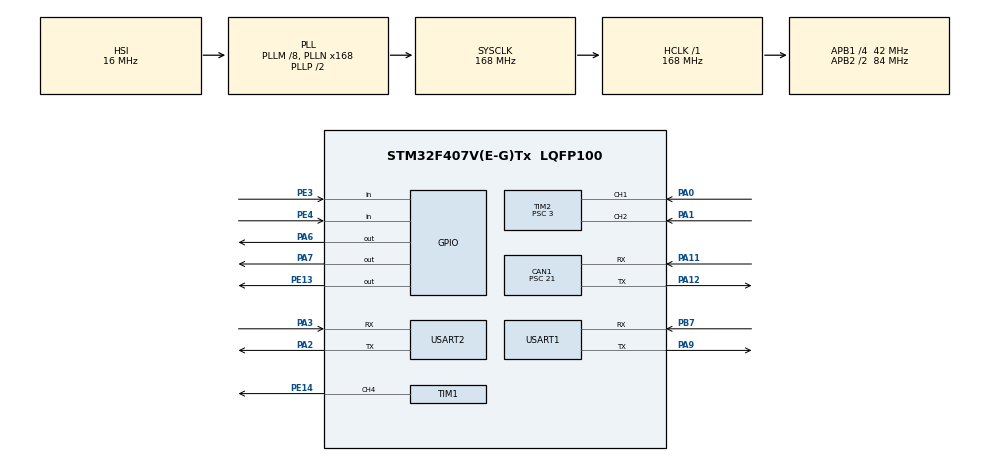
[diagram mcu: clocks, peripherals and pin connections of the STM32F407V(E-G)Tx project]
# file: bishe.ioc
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CAN1.BS1=CAN_BS1_16TQ
CAN1.BS2=CAN_BS2_3TQ
CAN1.CalculateTimeQuantum=500.0
CAN1.Mode=CAN_MODE_NORMAL
CAN1.Prescaler=21
Mcu.Family=STM32F4
Mcu.Name=STM32F407V(E-G)Tx
Mcu.Package=LQFP100
NVIC.CAN1_RX0_IRQn=true\:0\:0\:false\:false\:true\:true\:true
NVIC.CAN1_RX1_IRQn=true\:0\:0\:false\:false\:true\:true\:true
NVIC.CAN1_TX_IRQn=true\:1\:0\:true\:false\:true\:true\:true
NVIC.PriorityGroup=NVIC_PRIORITYGROUP_4
NVIC.TIM1_BRK_TIM9_IRQn=true\:2\:0\:true\:false\:true\:true\:true
NVIC.TIM1_CC_IRQn=true\:2\:0\:true\:false\:true\:true\:true
NVIC.TIM1_TRG_COM_TIM11_IRQn=true\:2\:0\:true\:false\:true\:true\:true
NVIC.TIM1_UP_TIM10_IRQn=true\:2\:0\:true\:false\:true\:true\:true
NVIC.TIM2_IRQn=true\:2\:0\:true\:false\:true\:true\:true
NVIC.TIM3_IRQn=true\:2\:0\:true\:false\:true\:true\:true
NVIC.TIM5_IRQn=true\:2\:0\:true\:false\:true\:true\:true
NVIC.TIM6_DAC_IRQn=true\:2\:0\:true\:false\:true\:true\:true
NVIC.USART1_IRQn=true\:1\:0\:true\:false\:true\:true\:true
NVIC.USART2_IRQn=true\:0\:0\:false\:false\:true\:true\:true
PA0-WKUP.Signal=S_TIM2_CH1_ETR
PA1.Signal=S_TIM2_CH2
PA11.Mode=Master
PA11.Signal=CAN1_RX
PA12.Mode=Master
PA12.Signal=CAN1_TX
PA13.Mode=Serial_Wire
PA13.Signal=SYS_JTMS-SWDIO
PA14.Mode=Serial_Wire
PA14.Signal=SYS_JTCK-SWCLK
PA2.Mode=Asynchronous
PA2.Signal=USART2_TX
PA3.Mode=Asynchronous
PA3.Signal=USART2_RX
PA6.Signal=GPIO_Output
PA7.PinState=GPIO_PIN_SET
PA7.Signal=GPIO_Output
PA9.Mode=Asynchronous
PA9.Signal=USART1_TX
PB7.Mode=Asynchronous
PB7.Signal=USART1_RX
PE13.PinState=GPIO_PIN_RESET
PE13.Signal=GPIO_Output
PE14.Signal=S_TIM1_CH4
PE3.Signal=GPIO_Input
PE4.GPIO_PuPd=GPIO_PULLUP
PE4.Signal=GPIO_Input
PH0-OSC_IN.Mode=HSE-External-Oscillator
PH0-OSC_IN.Signal=RCC_OSC_IN
PH1-OSC_OUT.Mode=HSE-External-Oscillator
PH1-OSC_OUT.Signal=RCC_OSC_OUT
ProjectManager.HeapSize=0x200
ProjectManager.StackSize=0x400
ProjectManager.TargetToolchain=MDK-ARM V5
RCC.48MHZClocksFreq_Value=84000000
RCC.AHBFreq_Value=168000000
RCC.APB1CLKDivider=RCC_HCLK_DIV4
RCC.APB1Freq_Value=42000000
RCC.APB1TimFreq_Value=84000000
RCC.APB2CLKDivider=RCC_HCLK_DIV2
RCC.APB2Freq_Value=84000000
RCC.APB2TimFreq_Value=168000000
RCC.CortexFreq_Value=168000000
RCC.HCLKFreq_Value=168000000
RCC.HSE_VALUE=25000000
RCC.HSI_VALUE=16000000
RCC.LSE_VALUE=32768
RCC.PLLM=8
RCC.PLLN=168
RCC.SYSCLKFreq_VALUE=168000000
RCC.SYSCLKSource=RCC_SYSCLKSOURCE_PLLCLK
RCC.VCOOutputFreq_Value=336000000
SH.S_TIM1_CH4.0=TIM1_CH4,PWM Generation4 CH4
SH.S_TIM2_CH1_ETR.0=TIM2_CH1,Encoder_Interface
SH.S_TIM2_CH2.0=TIM2_CH2,Encoder_Interface
TIM1.AutoReloadPreload=TIM_AUTORELOAD_PRELOAD_DISABLE
TIM1.Channel-PWM\ Generation4\ CH4=TIM_CHANNEL_4
TIM1.OCPolarity_4=TIM_OCPOLARITY_HIGH
TIM1.Period=1000-1
TIM1.Prescaler=84-1
TIM2.AutoReloadPreload=TIM_AUTORELOAD_PRELOAD_DISABLE
TIM2.EncoderMode=TIM_ENCODERMODE_TI12
TIM2.IC1Prescaler=TIM_ICPSC_DIV1
TIM2.Period=65535
TIM2.Prescaler=3
TIM3.AutoReloadPreload=TIM_AUTORELOAD_PRELOAD_DISABLE
TIM3.Channel-Output\ Compare1\ No\ Output=TIM_CHANNEL_1
TIM5.AutoReloadPreload=TIM_AUTORELOAD_PRELOAD_DISABLE
TIM5.Channel-Output\ Compare1\ No\ Output=TIM_CHANNEL_1
USART1.VirtualMode=VM_ASYNC
USART2.VirtualMode=VM_ASYNC
VP_TIM1_VS_ClockSourceINT.Mode=Internal
VP_TIM3_VS_ClockSourceINT.Mode=Internal
VP_TIM3_VS_no_output1.Mode=Output Compare1 No Output
VP_TIM5_VS_ClockSourceINT.Mode=Internal
VP_TIM5_VS_no_output1.Mode=Output Compare1 No Output
VP_TIM6_VS_ClockSourceINT.Mode=Enable_Timer
board=custom

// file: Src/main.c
/* USER CODE BEGIN Header */
/**
  ******************************************************************************
  * @file           : main.c
  * @brief          : Main program body
  ******************************************************************************
  * @attention
  *
  * <h2><center>&copy; Copyright (c) 2024 STMicroelectronics.
  * All rights reserved.</center></h2>
  *
  * This software component is licensed by ST under BSD 3-Clause license,
  * the "License"; You may not use this file except in compliance with the
  * License. You may obtain a copy of the License at:
  *                        opensource.org/licenses/BSD-3-Clause
  *
  ******************************************************************************
  */
/* USER CODE END Header */

#include "main.h"

CAN_HandleTypeDef hcan1;

TIM_HandleTypeDef htim1;
TIM_HandleTypeDef htim2;
TIM_HandleTypeDef htim3;
TIM_HandleTypeDef htim5;
TIM_HandleTypeDef htim6;

UART_HandleTypeDef huart1;
UART_HandleTypeDef huart2;

void SystemClock_Config(void);
static void MX_GPIO_Init(void);
static void MX_CAN1_Init(void);
static void MX_TIM1_Init(void);
static void MX_TIM2_Init(void);
static void MX_USART1_UART_Init(void);
static void MX_TIM3_Init(void);
static void MX_TIM5_Init(void);
static void MX_TIM6_Init(void);
static void MX_USART2_UART_Init(void);

/* USER CODE BEGIN 0 */
#include <stdio.h>
#include "xusiming.h"
#include "rtwtypes.h"

/* Flags for taskOverrun */
static boolean_T OverrunFlags[1] = { false, };

/* Number of auto reload timer rotation computed */
static volatile uint32_t autoReloadTimerLoopVal_S = 1;

/* Remaining number of auto reload timer rotation to do */
volatile uint32_t remainAutoReloadTimerLoopVal_S = 1;

/* USER CODE END 0 */

int main(void)
{

  /* MCU Configuration--------------------------------------------------------*/
SCB->VTOR = FLASH_BASE | 0x10000;
  /* Reset of all peripherals, Initializes the Flash interface and the Systick. */
  HAL_Init();

  /* Configure the system clock */
  SystemClock_Config();

  /* Initialize all configured peripherals */
  MX_GPIO_Init();
  MX_CAN1_Init();
  MX_TIM1_Init();
  MX_TIM2_Init();
  MX_USART1_UART_Init();
  MX_TIM3_Init();
  MX_TIM5_Init();
  MX_TIM6_Init();
  MX_USART2_UART_Init();
  /* USER CODE BEGIN 2 */
  /* Use Systick arm timer and interrupt to tick step() functions of the Simulink model. */
  /* Fundamental sample time is set to: '0.001000000' s */
  if (SysTick_Config((uint32_t)(SystemCoreClock/1000.0))) {
    autoReloadTimerLoopVal_S = 1;
    do {
      autoReloadTimerLoopVal_S++;
    } while ((uint32_t)(SystemCoreClock/1000.0)/autoReloadTimerLoopVal_S >
             SysTick_LOAD_RELOAD_Msk);

    SysTick_Config((uint32_t)(SystemCoreClock/1000.0)/autoReloadTimerLoopVal_S);
  }

  /* Set number of loop to do. */
  remainAutoReloadTimerLoopVal_S = autoReloadTimerLoopVal_S;

  {
    int i;
    for (i = 0; i < 1; i++) {
      OverrunFlags[i] = false;
    }
  }

  /* Initialize model */
  xusiming_initialize();

  /* USER CODE END 2 */

  /* Infinite loop */
  /* USER CODE BEGIN WHILE */
  /* Infinite loop */
  /* Real time from systickHandler */
  while (1) {
    /*Process tasks every solver time*/
    if (remainAutoReloadTimerLoopVal_S == 0) {
      remainAutoReloadTimerLoopVal_S = autoReloadTimerLoopVal_S;

      /* Check base rate for overrun */
      if (OverrunFlags[0]) {
        rtmSetErrorStatus(xusiming_M, "Overrun");
      }

      OverrunFlags[0] = true;

      /* Step the model for base rate */
      xusiming_step();

      /* Get model outputs here */

      /* Indicate task for base rate complete */
      OverrunFlags[0] = false;
    }
  }

    /* USER CODE END WHILE */

}

void SystemClock_Config(void)
{
  RCC_OscInitTypeDef RCC_OscInitStruct = {0};
  RCC_ClkInitTypeDef RCC_ClkInitStruct = {0};

  /** Configure the main internal regulator output voltage
  */
  __HAL_RCC_PWR_CLK_ENABLE();
  __HAL_PWR_VOLTAGESCALING_CONFIG(PWR_REGULATOR_VOLTAGE_SCALE1);
  /** Initializes the CPU, AHB and APB busses clocks
  */
  RCC_OscInitStruct.OscillatorType = RCC_OSCILLATORTYPE_HSI;
  RCC_OscInitStruct.HSIState = RCC_HSI_ON;
  RCC_OscInitStruct.HSICalibrationValue = RCC_HSICALIBRATION_DEFAULT;
  RCC_OscInitStruct.PLL.PLLState = RCC_PLL_ON;
  RCC_OscInitStruct.PLL.PLLSource = RCC_PLLSOURCE_HSI;
  RCC_OscInitStruct.PLL.PLLM = 8;
  RCC_OscInitStruct.PLL.PLLN = 168;
  RCC_OscInitStruct.PLL.PLLP = RCC_PLLP_DIV2;
  RCC_OscInitStruct.PLL.PLLQ = 4;
  if (HAL_RCC_OscConfig(&RCC_OscInitStruct) != HAL_OK)
  {
    Error_Handler();
  }
  /** Initializes the CPU, AHB and APB busses clocks
  */
  RCC_ClkInitStruct.ClockType = RCC_CLOCKTYPE_HCLK|RCC_CLOCKTYPE_SYSCLK
                              |RCC_CLOCKTYPE_PCLK1|RCC_CLOCKTYPE_PCLK2;
  RCC_ClkInitStruct.SYSCLKSource = RCC_SYSCLKSOURCE_PLLCLK;
  RCC_ClkInitStruct.AHBCLKDivider = RCC_SYSCLK_DIV1;
  RCC_ClkInitStruct.APB1CLKDivider = RCC_HCLK_DIV4;
  RCC_ClkInitStruct.APB2CLKDivider = RCC_HCLK_DIV2;

  if (HAL_RCC_ClockConfig(&RCC_ClkInitStruct, FLASH_LATENCY_5) != HAL_OK)
  {
    Error_Handler();
  }
}

static void MX_CAN1_Init(void)
{

  hcan1.Instance = CAN1;
  hcan1.Init.Prescaler = 21;
  hcan1.Init.Mode = CAN_MODE_NORMAL;
  hcan1.Init.SyncJumpWidth = CAN_SJW_1TQ;
  hcan1.Init.TimeSeg1 = CAN_BS1_16TQ;
  hcan1.Init.TimeSeg2 = CAN_BS2_3TQ;
  hcan1.Init.TimeTriggeredMode = DISABLE;
  hcan1.Init.AutoBusOff = DISABLE;
  hcan1.Init.AutoWakeUp = DISABLE;
  hcan1.Init.AutoRetransmission = DISABLE;
  hcan1.Init.ReceiveFifoLocked = DISABLE;
  hcan1.Init.TransmitFifoPriority = DISABLE;
  if (HAL_CAN_Init(&hcan1) != HAL_OK)
  {
    Error_Handler();
  }

}

static void MX_TIM1_Init(void)
{

  TIM_ClockConfigTypeDef sClockSourceConfig = {0};
  TIM_MasterConfigTypeDef sMasterConfig = {0};
  TIM_OC_InitTypeDef sConfigOC = {0};
  TIM_BreakDeadTimeConfigTypeDef sBreakDeadTimeConfig = {0};

  htim1.Instance = TIM1;
  htim1.Init.Prescaler = 84-1;
  htim1.Init.CounterMode = TIM_COUNTERMODE_UP;
  htim1.Init.Period = 1000-1;
  htim1.Init.ClockDivision = TIM_CLOCKDIVISION_DIV1;
  htim1.Init.RepetitionCounter = 0;
  htim1.Init.AutoReloadPreload = TIM_AUTORELOAD_PRELOAD_DISABLE;
  if (HAL_TIM_Base_Init(&htim1) != HAL_OK)
  {
    Error_Handler();
  }
  sClockSourceConfig.ClockSource = TIM_CLOCKSOURCE_INTERNAL;
  if (HAL_TIM_ConfigClockSource(&htim1, &sClockSourceConfig) != HAL_OK)
  {
    Error_Handler();
  }
  if (HAL_TIM_PWM_Init(&htim1) != HAL_OK)
  {
    Error_Handler();
  }
  sMasterConfig.MasterOutputTrigger = TIM_TRGO_RESET;
  sMasterConfig.MasterSlaveMode = TIM_MASTERSLAVEMODE_DISABLE;
  if (HAL_TIMEx_MasterConfigSynchronization(&htim1, &sMasterConfig) != HAL_OK)
  {
    Error_Handler();
  }
  sConfigOC.OCMode = TIM_OCMODE_PWM1;
  sConfigOC.Pulse = 0;
  sConfigOC.OCPolarity = TIM_OCPOLARITY_HIGH;
  sConfigOC.OCFastMode = TIM_OCFAST_DISABLE;
  sConfigOC.OCIdleState = TIM_OCIDLESTATE_RESET;
  sConfigOC.OCNIdleState = TIM_OCNIDLESTATE_RESET;
  if (HAL_TIM_PWM_ConfigChannel(&htim1, &sConfigOC, TIM_CHANNEL_4) != HAL_OK)
  {
    Error_Handler();
  }
  sBreakDeadTimeConfig.OffStateRunMode = TIM_OSSR_DISABLE;
  sBreakDeadTimeConfig.OffStateIDLEMode = TIM_OSSI_DISABLE;
  sBreakDeadTimeConfig.LockLevel = TIM_LOCKLEVEL_OFF;
  sBreakDeadTimeConfig.DeadTime = 0;
  sBreakDeadTimeConfig.BreakState = TIM_BREAK_DISABLE;
  sBreakDeadTimeConfig.BreakPolarity = TIM_BREAKPOLARITY_HIGH;
  sBreakDeadTimeConfig.AutomaticOutput = TIM_AUTOMATICOUTPUT_DISABLE;
  if (HAL_TIMEx_ConfigBreakDeadTime(&htim1, &sBreakDeadTimeConfig) != HAL_OK)
  {
    Error_Handler();
  }
  HAL_TIM_MspPostInit(&htim1);

}

static void MX_TIM2_Init(void)
{

  TIM_Encoder_InitTypeDef sConfig = {0};
  TIM_MasterConfigTypeDef sMasterConfig = {0};

  htim2.Instance = TIM2;
  htim2.Init.Prescaler = 3;
  htim2.Init.CounterMode = TIM_COUNTERMODE_UP;
  htim2.Init.Period = 65535;
  htim2.Init.ClockDivision = TIM_CLOCKDIVISION_DIV1;
  htim2.Init.AutoReloadPreload = TIM_AUTORELOAD_PRELOAD_DISABLE;
  sConfig.EncoderMode = TIM_ENCODERMODE_TI12;
  sConfig.IC1Polarity = TIM_ICPOLARITY_RISING;
  sConfig.IC1Selection = TIM_ICSELECTION_DIRECTTI;
  sConfig.IC1Prescaler = TIM_ICPSC_DIV1;
  sConfig.IC1Filter = 0;
  sConfig.IC2Polarity = TIM_ICPOLARITY_RISING;
  sConfig.IC2Selection = TIM_ICSELECTION_DIRECTTI;
  sConfig.IC2Prescaler = TIM_ICPSC_DIV1;
  sConfig.IC2Filter = 0;
  if (HAL_TIM_Encoder_Init(&htim2, &sConfig) != HAL_OK)
  {
    Error_Handler();
  }
  sMasterConfig.MasterOutputTrigger = TIM_TRGO_RESET;
  sMasterConfig.MasterSlaveMode = TIM_MASTERSLAVEMODE_DISABLE;
  if (HAL_TIMEx_MasterConfigSynchronization(&htim2, &sMasterConfig) != HAL_OK)
  {
    Error_Handler();
  }

}

static void MX_TIM3_Init(void)
{

  TIM_ClockConfigTypeDef sClockSourceConfig = {0};
  TIM_MasterConfigTypeDef sMasterConfig = {0};
  TIM_OC_InitTypeDef sConfigOC = {0};

  htim3.Instance = TIM3;
  htim3.Init.Prescaler = 0;
  htim3.Init.CounterMode = TIM_COUNTERMODE_UP;
  htim3.Init.Period = 0;
  htim3.Init.ClockDivision = TIM_CLOCKDIVISION_DIV1;
  htim3.Init.AutoReloadPreload = TIM_AUTORELOAD_PRELOAD_DISABLE;
  if (HAL_TIM_Base_Init(&htim3) != HAL_OK)
  {
    Error_Handler();
  }
  sClockSourceConfig.ClockSource = TIM_CLOCKSOURCE_INTERNAL;
  if (HAL_TIM_ConfigClockSource(&htim3, &sClockSourceConfig) != HAL_OK)
  {
    Error_Handler();
  }
  if (HAL_TIM_OC_Init(&htim3) != HAL_OK)
  {
    Error_Handler();
  }
  sMasterConfig.MasterOutputTrigger = TIM_TRGO_RESET;
  sMasterConfig.MasterSlaveMode = TIM_MASTERSLAVEMODE_DISABLE;
  if (HAL_TIMEx_MasterConfigSynchronization(&htim3, &sMasterConfig) != HAL_OK)
  {
    Error_Handler();
  }
  sConfigOC.OCMode = TIM_OCMODE_TIMING;
  sConfigOC.Pulse = 0;
  sConfigOC.OCPolarity = TIM_OCPOLARITY_HIGH;
  sConfigOC.OCFastMode = TIM_OCFAST_DISABLE;
  if (HAL_TIM_OC_ConfigChannel(&htim3, &sConfigOC, TIM_CHANNEL_1) != HAL_OK)
  {
    Error_Handler();
  }

}

static void MX_TIM5_Init(void)
{

  TIM_ClockConfigTypeDef sClockSourceConfig = {0};
  TIM_MasterConfigTypeDef sMasterConfig = {0};
  TIM_OC_InitTypeDef sConfigOC = {0};

  htim5.Instance = TIM5;
  htim5.Init.Prescaler = 0;
  htim5.Init.CounterMode = TIM_COUNTERMODE_UP;
  htim5.Init.Period = 0;
  htim5.Init.ClockDivision = TIM_CLOCKDIVISION_DIV1;
  htim5.Init.AutoReloadPreload = TIM_AUTORELOAD_PRELOAD_DISABLE;
  if (HAL_TIM_Base_Init(&htim5) != HAL_OK)
  {
    Error_Handler();
  }
  sClockSourceConfig.ClockSource = TIM_CLOCKSOURCE_INTERNAL;
  if (HAL_TIM_ConfigClockSource(&htim5, &sClockSourceConfig) != HAL_OK)
  {
    Error_Handler();
  }
  if (HAL_TIM_OC_Init(&htim5) != HAL_OK)
  {
    Error_Handler();
  }
  sMasterConfig.MasterOutputTrigger = TIM_TRGO_RESET;
  sMasterConfig.MasterSlaveMode = TIM_MASTERSLAVEMODE_DISABLE;
  if (HAL_TIMEx_MasterConfigSynchronization(&htim5, &sMasterConfig) != HAL_OK)
  {
    Error_Handler();
  }
  sConfigOC.OCMode = TIM_OCMODE_TIMING;
  sConfigOC.Pulse = 0;
  sConfigOC.OCPolarity = TIM_OCPOLARITY_HIGH;
  sConfigOC.OCFastMode = TIM_OCFAST_DISABLE;
  if (HAL_TIM_OC_ConfigChannel(&htim5, &sConfigOC, TIM_CHANNEL_1) != HAL_OK)
  {
    Error_Handler();
  }

}

static void MX_TIM6_Init(void)
{

  TIM_MasterConfigTypeDef sMasterConfig = {0};

  htim6.Instance = TIM6;
  htim6.Init.Prescaler = 0;
  htim6.Init.CounterMode = TIM_COUNTERMODE_UP;
  htim6.Init.Period = 0;
  htim6.Init.AutoReloadPreload = TIM_AUTORELOAD_PRELOAD_DISABLE;
  if (HAL_TIM_Base_Init(&htim6) != HAL_OK)
  {
    Error_Handler();
  }
  sMasterConfig.MasterOutputTrigger = TIM_TRGO_RESET;
  sMasterConfig.MasterSlaveMode = TIM_MASTERSLAVEMODE_DISABLE;
  if (HAL_TIMEx_MasterConfigSynchronization(&htim6, &sMasterConfig) != HAL_OK)
  {
    Error_Handler();
  }

}

static void MX_USART1_UART_Init(void)
{

  huart1.Instance = USART1;
  huart1.Init.BaudRate = 115200;
  huart1.Init.WordLength = UART_WORDLENGTH_8B;
  huart1.Init.StopBits = UART_STOPBITS_1;
  huart1.Init.Parity = UART_PARITY_NONE;
  huart1.Init.Mode = UART_MODE_TX_RX;
  huart1.Init.HwFlowCtl = UART_HWCONTROL_NONE;
  huart1.Init.OverSampling = UART_OVERSAMPLING_16;
  if (HAL_UART_Init(&huart1) != HAL_OK)
  {
    Error_Handler();
  }

}

static void MX_USART2_UART_Init(void)
{

  huart2.Instance = USART2;
  huart2.Init.BaudRate = 115200;
  huart2.Init.WordLength = UART_WORDLENGTH_8B;
  huart2.Init.StopBits = UART_STOPBITS_1;
  huart2.Init.Parity = UART_PARITY_NONE;
  huart2.Init.Mode = UART_MODE_TX_RX;
  huart2.Init.HwFlowCtl = UART_HWCONTROL_NONE;
  huart2.Init.OverSampling = UART_OVERSAMPLING_16;
  if (HAL_UART_Init(&huart2) != HAL_OK)
  {
    Error_Handler();
  }

}

static void MX_GPIO_Init(void)
{
  GPIO_InitTypeDef GPIO_InitStruct = {0};

  /* GPIO Ports Clock Enable */
  __HAL_RCC_GPIOE_CLK_ENABLE();
  __HAL_RCC_GPIOH_CLK_ENABLE();
  __HAL_RCC_GPIOA_CLK_ENABLE();
  __HAL_RCC_GPIOB_CLK_ENABLE();

  /*Configure GPIO pin Output Level */
  HAL_GPIO_WritePin(GPIOA, GPIO_PIN_6, GPIO_PIN_RESET);

  /*Configure GPIO pin Output Level */
  HAL_GPIO_WritePin(GPIOA, GPIO_PIN_7, GPIO_PIN_SET);

  /*Configure GPIO pin Output Level */
  HAL_GPIO_WritePin(GPIOE, GPIO_PIN_13, GPIO_PIN_RESET);

  /*Configure GPIO pin : PE3 */
  GPIO_InitStruct.Pin = GPIO_PIN_3;
  GPIO_InitStruct.Mode = GPIO_MODE_INPUT;
  GPIO_InitStruct.Pull = GPIO_NOPULL;
  HAL_GPIO_Init(GPIOE, &GPIO_InitStruct);

  /*Configure GPIO pin : PE4 */
  GPIO_InitStruct.Pin = GPIO_PIN_4;
  GPIO_InitStruct.Mode = GPIO_MODE_INPUT;
  GPIO_InitStruct.Pull = GPIO_PULLUP;
  HAL_GPIO_Init(GPIOE, &GPIO_InitStruct);

  /*Configure GPIO pins : PA6 PA7 */
  GPIO_InitStruct.Pin = GPIO_PIN_6|GPIO_PIN_7;
  GPIO_InitStruct.Mode = GPIO_MODE_OUTPUT_PP;
  GPIO_InitStruct.Pull = GPIO_NOPULL;
  GPIO_InitStruct.Speed = GPIO_SPEED_FREQ_LOW;
  HAL_GPIO_Init(GPIOA, &GPIO_InitStruct);

  /*Configure GPIO pin : PE13 */
  GPIO_InitStruct.Pin = GPIO_PIN_13;
  GPIO_InitStruct.Mode = GPIO_MODE_OUTPUT_PP;
  GPIO_InitStruct.Pull = GPIO_NOPULL;
  GPIO_InitStruct.Speed = GPIO_SPEED_FREQ_LOW;
  HAL_GPIO_Init(GPIOE, &GPIO_InitStruct);

}

void Error_Handler(void)
{
}

/************************ (C) COPYRIGHT STMicroelectronics *****END OF FILE****/
